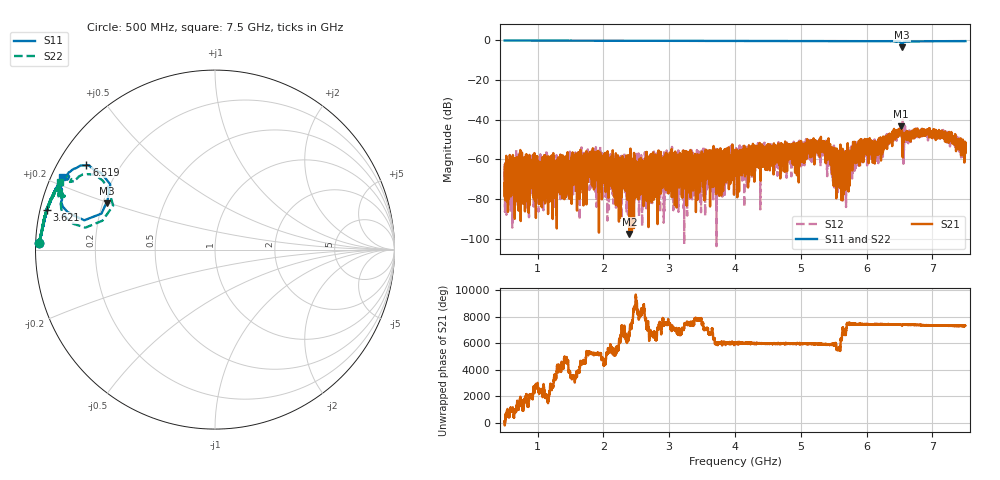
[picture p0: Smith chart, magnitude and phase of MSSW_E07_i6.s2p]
!Keysight Technologies,M9374A,MY55442783,A.12.55.05
!Date: Thursday, May 20, 2021 17:34:46
!Correction: S11(Full 2 Port(1,2))
!S21(Full 2 Port(1,2))
!S12(Full 2 Port(1,2))
!S22(Full 2 Port(1,2))
!S2P File: Measurements: S11, S21, S12, S22:
# Hz S  RI  R 50
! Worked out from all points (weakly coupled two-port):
!   7001 points, 500 MHz to 7.5 GHz, reference 50 ohm
!   highest |S21| = -43.32 dB at 6.521 GHz (marker M1); lowest = -97.4 dB at 2.395 GHz (marker M2)
!   lowest |S11| = -3.7 dB at 6.537 GHz (marker M3), VSWR 4.80, Z = 10.8 + j9.82 ohm
!   |S11| at or under -10 dB: nowhere
!   |S22| runs from -4.2 to -0.2 dB; largest |S21 - S12| = 0.0096
!   S11 on the Smith chart (normalised r, x): 500 MHz: 0.01, +0.02; 3.621 GHz: 0.02, +0.12; 6.519 GHz: 0.08, +0.30; 7.5 GHz: 0.03, +0.23
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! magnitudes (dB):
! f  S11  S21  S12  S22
! 500 MHz  -0.2  -71.8  -70.6  -0.2
! 602 MHz  -0.2  -61.3  -65.3  -0.2
! 1.667 GHz  -0.3  -59.6  -63.7  -0.3
! 1.866 GHz  -0.3  -58.5  -58.1  -0.3
! 1.959 GHz  -0.3  -57.9  -69.7  -0.3
! 2.395 GHz  -0.3  -97.4  -64.4  -0.3
! 2.834 GHz  -0.3  -71.0  -70.2  -0.3
! 3.621 GHz  -0.3  -83.6  -60.8  -0.3
! 4 GHz  -0.4  -59.4  -59.3  -0.3
! 5.167 GHz  -0.4  -57.1  -50.7  -0.4
! 5.338 GHz  -0.4  -53.6  -53.6  -0.5
! 5.539 GHz  -0.4  -79.5  -66.5  -0.4
! 5.665 GHz  -0.5  -69.4  -65.0  -0.4
! 5.777 GHz  -0.5  -53.9  -53.9  -0.5
! 5.895 GHz  -0.5  -53.7  -52.1  -0.5
! 6.126 GHz  -0.5  -50.9  -53.1  -0.5
! 6.334 GHz  -0.5  -51.8  -51.7  -0.5
! 6.519 GHz  -1.3  -45.1  -45.4  -1.6
! 6.521 GHz  -1.6  -43.3  -46.7  -1.7
! 6.537 GHz  -3.7  -46.5  -48.1  -4.1
! 7.153 GHz  -0.5  -47.7  -49.6  -0.6
! 7.5 GHz  -0.5  -54.1  -51.6  -0.5
